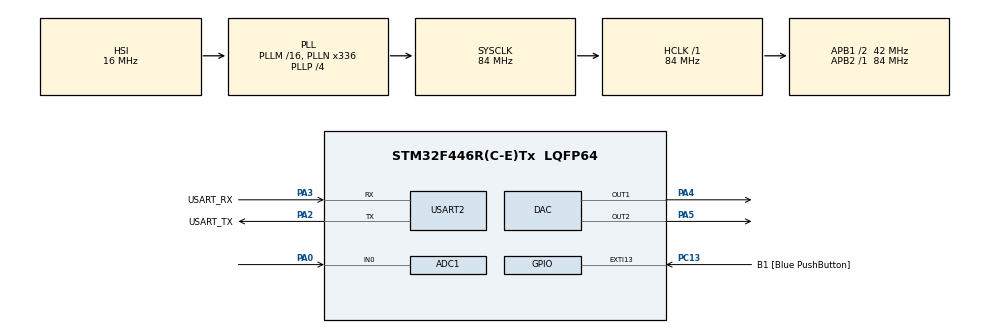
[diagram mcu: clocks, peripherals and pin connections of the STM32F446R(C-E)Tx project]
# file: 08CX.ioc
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ADC1.Channel-0\#ChannelRegularConversion=ADC_CHANNEL_0
ADC1.ClockPrescaler=ADC_CLOCK_SYNC_PCLK_DIV4
ADC1.NbrOfConversionFlag=1
ADC1.Rank-0\#ChannelRegularConversion=1
ADC1.SamplingTime-0\#ChannelRegularConversion=ADC_SAMPLETIME_28CYCLES
ADC1.master=1
Mcu.Family=STM32F4
Mcu.Name=STM32F446R(C-E)Tx
Mcu.Package=LQFP64
NVIC.PriorityGroup=NVIC_PRIORITYGROUP_0
NVIC.USART2_IRQn=true\:0\:0\:false\:false\:true\:true\:true\:true
PA0-WKUP.Signal=ADCx_IN0
PA13.GPIO_Label=TMS
PA13.Signal=SYS_JTMS-SWDIO
PA14.GPIO_Label=TCK
PA14.Signal=SYS_JTCK-SWCLK
PA2.GPIO_Label=USART_TX
PA2.Mode=Asynchronous
PA2.Signal=USART2_TX
PA3.GPIO_Label=USART_RX
PA3.Mode=Asynchronous
PA3.Signal=USART2_RX
PA4.Signal=COMP_DAC1_group
PA5.Signal=COMP_DAC2_group
PB3.GPIO_Label=SWO
PB3.Signal=SYS_JTDO-SWO
PC13.GPIO_Label=B1 [Blue PushButton]
PC13.GPIO_ModeDefaultEXTI=GPIO_MODE_IT_FALLING
PC13.Signal=GPXTI13
PC14-OSC32_IN.Signal=RCC_OSC32_IN
PC15-OSC32_OUT.Signal=RCC_OSC32_OUT
PH0-OSC_IN.Signal=RCC_OSC_IN
PH1-OSC_OUT.Signal=RCC_OSC_OUT
ProjectManager.HeapSize=0x200
ProjectManager.StackSize=0x400
ProjectManager.TargetToolchain=STM32CubeIDE
RCC.AHBFreq_Value=84000000
RCC.APB1CLKDivider=RCC_HCLK_DIV2
RCC.APB1Freq_Value=42000000
RCC.APB1TimFreq_Value=84000000
RCC.APB2Freq_Value=84000000
RCC.APB2TimFreq_Value=84000000
RCC.CortexFreq_Value=84000000
RCC.FLatency-AdvancedSettings=FLASH_LATENCY_2
RCC.HCLKFreq_Value=84000000
RCC.HSE_VALUE=8000000
RCC.HSI_VALUE=16000000
RCC.LSE_VALUE=32768
RCC.PLLN=336
RCC.PLLP=RCC_PLLP_DIV4
RCC.SYSCLKFreq_VALUE=84000000
RCC.SYSCLKSource=RCC_SYSCLKSOURCE_PLLCLK
RCC.USBFreq_Value=168000000
RCC.VCOOutputFreq_Value=336000000
SH.ADCx_IN0.0=ADC1_IN0,IN0
SH.COMP_DAC1_group.0=DAC_OUT1,DAC_OUT1
SH.COMP_DAC2_group.0=DAC_OUT2,DAC_OUT2
USART2.VirtualMode=VM_ASYNC
board=NUCLEO-F446RE

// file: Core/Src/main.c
/* USER CODE BEGIN Header */
/**
  ******************************************************************************
  * @file           : main.c
  * @brief          : Main program body
  ******************************************************************************
  * @attention
  *
  * Copyright (c) 2025 STMicroelectronics.
  * All rights reserved.
  *
  * This software is licensed under terms that can be found in the LICENSE file
  * in the root directory of this software component.
  * If no LICENSE file comes with this software, it is provided AS-IS.
  *
  ******************************************************************************
  */
/* USER CODE END Header */
#include "main.h"

/* USER CODE BEGIN Includes */

#include <stdio.h>
#include <string.h>

/* USER CODE END Includes */

ADC_HandleTypeDef hadc1;

DAC_HandleTypeDef hdac;

UART_HandleTypeDef huart2;

/* USER CODE BEGIN PV */

char chTxBuffer[100];

/* USER CODE END PV */

void SystemClock_Config(void);
static void MX_GPIO_Init(void);
static void MX_DAC_Init(void);
static void MX_USART2_UART_Init(void);
static void MX_ADC1_Init(void);

int main(void)
{

  /* MCU Configuration--------------------------------------------------------*/

  /* Reset of all peripherals, Initializes the Flash interface and the Systick. */
  HAL_Init();

  /* Configure the system clock */
  SystemClock_Config();

  /* Initialize all configured peripherals */
  MX_GPIO_Init();
  MX_DAC_Init();
  MX_USART2_UART_Init();
  MX_ADC1_Init();
  /* USER CODE BEGIN 2 */

  HAL_DAC_Start(&hdac, DAC_CHANNEL_1);
  HAL_DAC_Start(&hdac, DAC_CHANNEL_2);

  uint16_t uiDAC = 0;

  uint16_t uiADCResult;
  double dmVolt;

  /* USER CODE END 2 */

  /* Infinite loop */
  /* USER CODE BEGIN WHILE */
  while (1)
  {

	  // DAC
	  HAL_DAC_SetValue(&hdac, DAC_CHANNEL_1, DAC_ALIGN_12B_R, uiDAC);
	  HAL_DAC_SetValue(&hdac, DAC_CHANNEL_2, DAC_ALIGN_12B_R, uiDAC);
	  if(uiDAC < 4095) uiDAC ++;
	  else uiDAC = 0;
	  HAL_Delay(1);

	  // ADC
	  HAL_ADC_Start(&hadc1);
	  HAL_ADC_PollForConversion(&hadc1, 100);
	  uiADCResult = HAL_ADC_GetValue(&hadc1);
	  dmVolt = (double)uiADCResult;
	  dmVolt *= 3300;
	  dmVolt /= 4095;
	  sprintf(chTxBuffer,"ADC1 = %d, Voltage = %d[mV]\r\n",uiADCResult,(uint16_t)dmVolt);
	  HAL_UART_Transmit_IT(&huart2, (uint8_t*)chTxBuffer, strlen(chTxBuffer));

    /* USER CODE END WHILE */

  }
}

void SystemClock_Config(void)
{
  RCC_OscInitTypeDef RCC_OscInitStruct = {0};
  RCC_ClkInitTypeDef RCC_ClkInitStruct = {0};

  /** Configure the main internal regulator output voltage
  */
  __HAL_RCC_PWR_CLK_ENABLE();
  __HAL_PWR_VOLTAGESCALING_CONFIG(PWR_REGULATOR_VOLTAGE_SCALE3);

  /** Initializes the RCC Oscillators according to the specified parameters
  * in the RCC_OscInitTypeDef structure.
  */
  RCC_OscInitStruct.OscillatorType = RCC_OSCILLATORTYPE_HSI;
  RCC_OscInitStruct.HSIState = RCC_HSI_ON;
  RCC_OscInitStruct.HSICalibrationValue = RCC_HSICALIBRATION_DEFAULT;
  RCC_OscInitStruct.PLL.PLLState = RCC_PLL_ON;
  RCC_OscInitStruct.PLL.PLLSource = RCC_PLLSOURCE_HSI;
  RCC_OscInitStruct.PLL.PLLM = 16;
  RCC_OscInitStruct.PLL.PLLN = 336;
  RCC_OscInitStruct.PLL.PLLP = RCC_PLLP_DIV4;
  RCC_OscInitStruct.PLL.PLLQ = 2;
  RCC_OscInitStruct.PLL.PLLR = 2;
  if (HAL_RCC_OscConfig(&RCC_OscInitStruct) != HAL_OK)
  {
    Error_Handler();
  }

  /** Initializes the CPU, AHB and APB buses clocks
  */
  RCC_ClkInitStruct.ClockType = RCC_CLOCKTYPE_HCLK|RCC_CLOCKTYPE_SYSCLK
                              |RCC_CLOCKTYPE_PCLK1|RCC_CLOCKTYPE_PCLK2;
  RCC_ClkInitStruct.SYSCLKSource = RCC_SYSCLKSOURCE_PLLCLK;
  RCC_ClkInitStruct.AHBCLKDivider = RCC_SYSCLK_DIV1;
  RCC_ClkInitStruct.APB1CLKDivider = RCC_HCLK_DIV2;
  RCC_ClkInitStruct.APB2CLKDivider = RCC_HCLK_DIV1;

  if (HAL_RCC_ClockConfig(&RCC_ClkInitStruct, FLASH_LATENCY_2) != HAL_OK)
  {
    Error_Handler();
  }
}

static void MX_ADC1_Init(void)
{

  ADC_ChannelConfTypeDef sConfig = {0};

  /** Configure the global features of the ADC (Clock, Resolution, Data Alignment and number of conversion)
  */
  hadc1.Instance = ADC1;
  hadc1.Init.ClockPrescaler = ADC_CLOCK_SYNC_PCLK_DIV4;
  hadc1.Init.Resolution = ADC_RESOLUTION_12B;
  hadc1.Init.ScanConvMode = DISABLE;
  hadc1.Init.ContinuousConvMode = DISABLE;
  hadc1.Init.DiscontinuousConvMode = DISABLE;
  hadc1.Init.ExternalTrigConvEdge = ADC_EXTERNALTRIGCONVEDGE_NONE;
  hadc1.Init.ExternalTrigConv = ADC_SOFTWARE_START;
  hadc1.Init.DataAlign = ADC_DATAALIGN_RIGHT;
  hadc1.Init.NbrOfConversion = 1;
  hadc1.Init.DMAContinuousRequests = DISABLE;
  hadc1.Init.EOCSelection = ADC_EOC_SINGLE_CONV;
  if (HAL_ADC_Init(&hadc1) != HAL_OK)
  {
    Error_Handler();
  }

  /** Configure for the selected ADC regular channel its corresponding rank in the sequencer and its sample time.
  */
  sConfig.Channel = ADC_CHANNEL_0;
  sConfig.Rank = 1;
  sConfig.SamplingTime = ADC_SAMPLETIME_28CYCLES;
  if (HAL_ADC_ConfigChannel(&hadc1, &sConfig) != HAL_OK)
  {
    Error_Handler();
  }

}

static void MX_DAC_Init(void)
{

  DAC_ChannelConfTypeDef sConfig = {0};

  /** DAC Initialization
  */
  hdac.Instance = DAC;
  if (HAL_DAC_Init(&hdac) != HAL_OK)
  {
    Error_Handler();
  }

  /** DAC channel OUT1 config
  */
  sConfig.DAC_Trigger = DAC_TRIGGER_NONE;
  sConfig.DAC_OutputBuffer = DAC_OUTPUTBUFFER_ENABLE;
  if (HAL_DAC_ConfigChannel(&hdac, &sConfig, DAC_CHANNEL_1) != HAL_OK)
  {
    Error_Handler();
  }

  /** DAC channel OUT2 config
  */
  if (HAL_DAC_ConfigChannel(&hdac, &sConfig, DAC_CHANNEL_2) != HAL_OK)
  {
    Error_Handler();
  }

}

static void MX_USART2_UART_Init(void)
{

  huart2.Instance = USART2;
  huart2.Init.BaudRate = 115200;
  huart2.Init.WordLength = UART_WORDLENGTH_8B;
  huart2.Init.StopBits = UART_STOPBITS_1;
  huart2.Init.Parity = UART_PARITY_NONE;
  huart2.Init.Mode = UART_MODE_TX_RX;
  huart2.Init.HwFlowCtl = UART_HWCONTROL_NONE;
  huart2.Init.OverSampling = UART_OVERSAMPLING_16;
  if (HAL_UART_Init(&huart2) != HAL_OK)
  {
    Error_Handler();
  }

}

static void MX_GPIO_Init(void)
{
  GPIO_InitTypeDef GPIO_InitStruct = {0};

  /* GPIO Ports Clock Enable */
  __HAL_RCC_GPIOC_CLK_ENABLE();
  __HAL_RCC_GPIOH_CLK_ENABLE();
  __HAL_RCC_GPIOA_CLK_ENABLE();
  __HAL_RCC_GPIOB_CLK_ENABLE();

  /*Configure GPIO pin : B1_Pin */
  GPIO_InitStruct.Pin = B1_Pin;
  GPIO_InitStruct.Mode = GPIO_MODE_IT_FALLING;
  GPIO_InitStruct.Pull = GPIO_NOPULL;
  HAL_GPIO_Init(B1_GPIO_Port, &GPIO_InitStruct);

}

void Error_Handler(void)
{
  __disable_irq();
  while (1)
  {
  }
}
